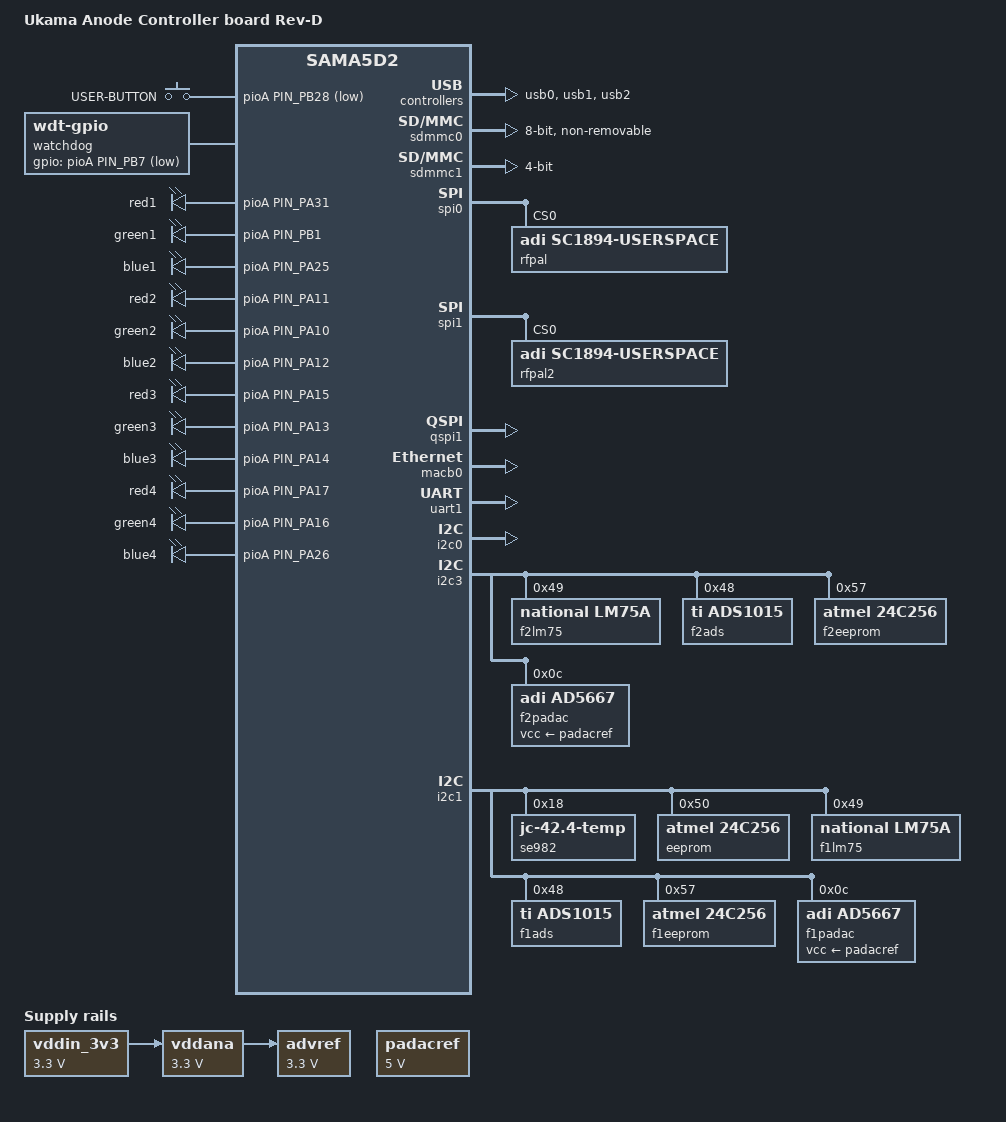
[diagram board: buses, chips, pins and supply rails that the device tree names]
// SPDX-License-Identifier: (GPL-2.0+ OR MIT)
/*
 * at91-sama5d27_som1_ek.dts - Device Tree file for SAMA5D27-SOM1-EK board
 *
 *  Copyright (c) 2017, Microchip Technology Inc.
 *                2016 Nicolas Ferre <nicolas.ferre@atmel.com>
 *                2017 Cristian Birsan <cristian.birsan@microchip.com>
 *                2017 Claudiu Beznea <claudiu.beznea@microchip.com>
 */
/dts-v1/;
#include "at91-sama5d27_som1.dtsi"
#include <dt-bindings/mfd/atmel-flexcom.h>
#include <dt-bindings/gpio/gpio.h>

/ {
	model = "Ukama Anode Controller board Rev-D";
	compatible = "atmel,sama5d27-som1-ek", "atmel,sama5d27-som1", "atmel,sama5d27", "atmel,sama5d2", "atmel,sama5";

	aliases {
		serial0 = &uart1;	/* DBGU */
		i2c0	= &i2c0;
		i2c1	= &i2c1;
        i2c2    = &i2c3;
		spi0    = &spi0;
		spi1 	= &spi1;
	};

	chosen {
		stdout-path = "serial0:115200n8";
	};

	ahb {
		usb0: gadget@300000 {
			atmel,vbus-gpio = <&pioA PIN_PD20 GPIO_ACTIVE_HIGH>;
			pinctrl-names = "default";
			pinctrl-0 = <&pinctrl_usba_vbus>;
			status = "okay";
		};

		usb1: ohci@400000 {
			num-ports = <3>;
			atmel,vbus-gpio = <0 /* &pioA PIN_PD20 GPIO_ACTIVE_HIGH */
					   &pioA PIN_PA27 GPIO_ACTIVE_HIGH
					   0
					  >;
			pinctrl-names = "default";
			pinctrl-0 = <&pinctrl_usb_default>;
			status = "okay";
		};

		usb2: ehci@500000 {
			status = "okay";
		};

		sdmmc0: sdio-host@a0000000 {
			bus-width = <8>;
			pinctrl-names = "default";
			pinctrl-0 = <&pinctrl_sdmmc0_default>;
			non-removable;
			status = "okay";
		};

		sdmmc1: sdio-host@b0000000 {
			bus-width = <4>;
			pinctrl-names = "default";
			pinctrl-0 = <&pinctrl_sdmmc1_default>;
			status = "okay";
		};

		apb {
			spi0: spi@f8000000 {
				status = "okay";
				pinctrl-names = "default";
               	pinctrl-0 = <&pinctrl_spi0_default>;
				rfpal: sc1894@0 {
					compatible = "adi,sc1894-userspace";
                    reg = <0>; /* CS0 */
				};
			};
			
			spi1: spi@fc000000 {
                status = "okay";
                pinctrl-names = "default";
                inctrl-0 = <&pinctrl_spi1_default>;
                rfpal2: sc1894@0 {
                    compatible = "adi,sc1894-userspace";
                    reg = <0>; /* CS0 */
                };
           };
			
			qspi1: spi@f0024000 {
                status = "okay";
			};	
			
			macb0: ethernet@f8008000 {
				status = "okay";
			};

			tcb0: timer@f800c000 {
				timer0: timer@0 {
					compatible = "atmel,tcb-timer";
					reg = <0>;
				};

				timer1: timer@1 {
					compatible = "atmel,tcb-timer";
					reg = <1>;
				};
			};

			uart1: serial@f8020000 {
				pinctrl-names = "default";
				pinctrl-0 = <&pinctrl_uart1_default>;
				atmel,use-dma-rx;
				atmel,use-dma-tx;
				status = "okay";
			};

			i2c0: i2c@f8028000 {
				dmas = <0>, <0>;
				pinctrl-names = "default";
				pinctrl-0 = <&pinctrl_i2c0_default>;
				status = "okay";
			};


			flx1: flexcom@f8038000 {
				atmel,flexcom-mode = <ATMEL_FLEXCOM_MODE_TWI>;
				status = "okay";

				i2c3: i2c@600 {
					compatible = "atmel,sama5d2-i2c";
					reg = <0x600 0x200>;
					interrupts = <20 IRQ_TYPE_LEVEL_HIGH 7>;
					dmas = <0>, <0>;
					dma-names = "tx", "rx";
					#address-cells = <1>;
					#size-cells = <0>;
					clocks = <&pmc PMC_TYPE_PERIPHERAL 20>;
					pinctrl-names = "default";
					pinctrl-0 = <&pinctrl_i2c2_default>;
					atmel,fifo-size = <16>;
					status = "okay";
			        
                    /* FEMA 2 */
				    f2lm75: lm75@49 {
                        compatible = "national,lm75a";
                        reg = <0x49>;
                    };

                    f2ads: ads1015@48 {
                        compatible = "ti,ads1015";
                        reg = <0x48>;
                        #address-cells = <1>;
                        #size-cells = <0>;
                        /* ti,gain = <3>;
                        ti,datarate = <5> */
                    };
				
				    f2eeprom: m24128@57 {
					    compatible = "atmel,24c256";
                        reg = <0x57>;
				    }; 

				    f2padac: ad5667@c {
					    compatible = "adi,ad5667 ";
					    reg = <0x0c>;
					    vcc-supply = <&padacref>;
				    };
				};
			};

			poweroff@f8048010 {
				debounce-delay-us = <976>;
				atmel,wakeup-rtc-timer;

				input@0 {
					reg = <0>;
					atmel,wakeup-type = "low";
				};
			};

			watchdog@f8048040 {
				status = "okay";
			};
            
			i2c1: i2c@fc028000 {
				dmas = <0>, <0>;
				pinctrl-names = "default";
				pinctrl-0 = <&pinctrl_i2c1_default>;
				status = "okay";
				
                /* Controller Board */
				se982: se98@18 {
					compatible = "jedec,jc-42.4-temp";
					reg = <0x18>;
				};
					
				eeprom: mpcat24@50 {
                    compatible = "atmel,24c256";
                    reg = <0x50>;
                };
				
                /* FEMA 1 */
				f1lm75: lm75@49 {
                    compatible = "national,lm75a";
                    reg = <0x49>;
                };

                f1ads: ads1015@48 {
                    compatible = "ti,ads1015";
                    reg = <0x48>;
                    #address-cells = <1>;
                    #size-cells = <0>;
                    /* ti,gain = <3>;
                    ti,datarate = <5> */
                };
				
				f1eeprom: m24128@57 {
					compatible = "atmel,24c256";
                    reg = <0x57>;
				}; 

				f1padac: ad5667@c {
					compatible = "adi,ad5667 ";
					reg = <0x0c>;
					vcc-supply = <&padacref>;
				};
			};

			adc: adc@fc030000 {
				vddana-supply = <&vddana>;
				vref-supply = <&advref>;

				status = "disabled";
			};

			pinctrl@fc038000 {
			    pinctrl_spi0_default: spi0_default {
                    pinmux = <PIN_PA14__SPI0_SPCK>,
                             <PIN_PA15__SPI0_MOSI>,
				       	     <PIN_PA16__SPI0_MISO>,
				             <PIN_PA17__SPI0_NPCS0>,
				             <PIN_PA27__SPI0_NPCS2>;
                    bias-pull-up;
                };
				
				pinctrl_spi1_default: spi1_default {
                    pinmux = <PIN_PC1__SPI1_SPCK>,
                             <PIN_PC2__SPI1_MOSI>,
                             <PIN_PC3__SPI1_MISO>,
                             <PIN_PC4__SPI1_NPCS0>,
                             <PIN_PC5__SPI1_NPCS1>;
                    bias-pull-up;
                };

				pinctrl_i2c0_default: i2c0_default {
					pinmux = <PIN_PD21__TWD0>,
						 <PIN_PD22__TWCK0>;
					bias-disable;
				};

				pinctrl_i2c1_default: i2c1_default {
					pinmux = <PIN_PD4__TWD1>,
						 <PIN_PD5__TWCK1>;
					bias-disable;
				};

				pinctrl_controller_led1_default: controller_led1_default {
					 pinmux = <PIN_PA31__GPIO>,
						  <PIN_PB1__GPIO>,
						  <PIN_PA25__GPIO>;
					 bias-pull-up;
				};
		
				pinctrl_controller_led2_default: controller_led2_default {
					 pinmux = <PIN_PA11__GPIO>,
						  <PIN_PA10__GPIO>,
						  <PIN_PA12__GPIO>;
					 bias-pull-up;
				};
				
				
				pinctrl_controller_led3_default: controller_led3_default {
					 pinmux = <PIN_PB25__GPIO>,
						  <PIN_PA27__GPIO>,
						  <PIN_PB24__GPIO>;
					 bias-pull-up;
				};

				pinctrl_controller_led4_default: controller_led4_default {
					 pinmux = <PIN_PB11__GPIO>,
						  <PIN_PB9__GPIO>,
						  <PIN_PA29__GPIO>;
					 bias-pull-up;
				};
			    
                pinctrl_controller_key_button_default: controller_key_button_default {
                    pinmux = <PIN_PB28__GPIO>;
                    bias-pull-up; 
                };	

				pinctrl_controller_gpios_default: controller_gpios_default {
					pinmux = <PIN_PB3__GPIO>,
						 <PIN_PC27__GPIO>,
                         <PIN_PB30__GPIO>;
                    bias-pull-up;
				};
				
				pinctrl_fema1_gpios_default: fema1_gpios_default {
					pinmux = <PIN_PB4__GPIO>,
						 <PIN_PB27__GPIO>,
						 <PIN_PB29__GPIO>,
						 <PIN_PB8__GPIO>,
						 <PIN_PB31__GPIO>,
						 <PIN_PB22__GPIO>,
						 <PIN_PB23__GPIO>;
                   bias-pull-up;
				};
				
				pinctrl_fema2_gpios_default: fema2_gpios_default {
					pinmux = <PIN_PC15__GPIO>,
						 <PIN_PC10__GPIO>,
						 <PIN_PC6__GPIO>,
						 <PIN_PC9__GPIO>,
						 <PIN_PC14__GPIO>,
						 <PIN_PC19__GPIO>,
						 <PIN_PC20__GPIO>;
					bias-pull-up;
				};
				
				pinctrl_sdmmc0_default: sdmmc0_default {
					cmd_data {
						pinmux = <PIN_PA1__SDMMC0_CMD>,
							 <PIN_PA2__SDMMC0_DAT0>,
							 <PIN_PA3__SDMMC0_DAT1>,
							 <PIN_PA4__SDMMC0_DAT2>,
							 <PIN_PA5__SDMMC0_DAT3>,
							 <PIN_PA6__SDMMC0_DAT4>,
							 <PIN_PA7__SDMMC0_DAT5>,
							 <PIN_PA8__SDMMC0_DAT6>,
							 <PIN_PA9__SDMMC0_DAT7>;
						bias-disable;
					};

					ck_cd_vddsel {
						pinmux = <PIN_PA0__SDMMC0_CK>;
						bias-disable;
					};
				};

				pinctrl_sdmmc1_default: sdmmc1_default {
					cmd_data {
						pinmux = <PIN_PA28__SDMMC1_CMD>,
							 <PIN_PA18__SDMMC1_DAT0>,
							 <PIN_PA19__SDMMC1_DAT1>,
							 <PIN_PA20__SDMMC1_DAT2>,
							 <PIN_PA21__SDMMC1_DAT3>;
						bias-disable;
					};

					conf-ck_cd {
						pinmux = <PIN_PA22__SDMMC1_CK>,
							 <PIN_PA30__SDMMC1_CD>;
						bias-disable;
					};
				};

				pinctrl_uart1_default: uart1_default {
					pinmux = <PIN_PD2__URXD1>,
						 <PIN_PD3__UTXD1>;
					bias-disable;
				};

				pinctrl_usb_default: usb_default {
					pinmux = <PIN_PA27__GPIO>,
						 <PIN_PD19__GPIO>;
					bias-disable;
				};

				pinctrl_usba_vbus: usba_vbus {
					pinmux = <PIN_PD20__GPIO>;
					bias-disable;
				};

				pinctrl_i2c2_default: i2c2_default {
					pinmux = <PIN_PA24__FLEXCOM1_IO0>,
						 <PIN_PA23__FLEXCOM1_IO1>;
					bias-disable;
				};
				
				pinctrl_controller_key_button: fema_button {
					pinmux = <PIN_PB28__GPIO>;
					bias-disable;
				};
			};
			
		};
	};
	
	gpio-keys {
        compatible = "gpio-keys";

        pinctrl-names = "default";
        pinctrl-0 = <&pinctrl_controller_key_button>;
        user-button {
            label = "USER-BUTTON";
            gpios = <&pioA PIN_PB28 GPIO_ACTIVE_LOW>;
            linux,code = <0x100>;
            wakeup-source;
        };
    };

    controller-gpios {
        compatible = "ukama,controller-gpios";
        pinctrl-names = "default";
        pinctrl-0 = <&pinctrl_controller_gpios_default>;
        status = "okay";    
       
		controller-therm-alert = <&pioA PIN_PB3 GPIO_ACTIVE_LOW>;
        
        psu-pgood = <&pioA PIN_PC27 GPIO_ACTIVE_LOW>;
	    
        eeprom-wp-enable = <&pioA PIN_PB30 GPIO_ACTIVE_LOW>;
        eeprom-wp-enable-default = <1>;
    
    };

	fema1-gpios {
		compatible = "ukama,fema-gpios";
		pinctrl-names = "default";
		pinctrl-0 = <&pinctrl_fema1_gpios_default>;
		status = "okay"; 
		
		pg-reg-5v = <&pioA PIN_PB4 GPIO_ACTIVE_LOW>;
	    
		eeprom-wp-enable = <&pioA PIN_PB27 GPIO_ACTIVE_LOW>;
		eeprom-wp-enable-default = <1>;

		tx-rf-enable = <&pioA PIN_PB29 GPIO_ACTIVE_LOW>;
        tx-rf-enable-default = <0>;
        
		rx-rf-enable = <&pioA PIN_PB8 GPIO_ACTIVE_LOW>;
        rx-rf-enable-default = <0>;
        	
		pa-disable = <&pioA PIN_PB31 GPIO_ACTIVE_LOW>;
		pa-disable-default = <0>;
        
		pa-vds-enable = <&pioA PIN_PB23 GPIO_ACTIVE_LOW>;
		pa-vds-enable-default = <0>;
        
		rf-pal-enable = <&pioA PIN_PB22 GPIO_ACTIVE_LOW>;
		rf-pal-enable-default = <0>;
	};

    	
	fema2-gpios {
		compatible = "ukama,fema-gpios";
		pinctrl-names = "default";
		pinctrl-0 = <&pinctrl_fema2_gpios_default>;
		status = "okay"; 
		
		pg-reg-5v = <&pioA PIN_PC15 GPIO_ACTIVE_LOW>;
	    
		eeprom-wp-enable = <&pioA PIN_PC10 GPIO_ACTIVE_LOW>;
		eeprom-wp-enable-default = <1>;

		tx-rf-enable = <&pioA PIN_PC6 GPIO_ACTIVE_LOW>;
        tx-rf-enable-default = <0>;
        
		rx-rf-enable = <&pioA PIN_PC9 GPIO_ACTIVE_LOW>;
        rx-rf-enable-default = <0>;
        	
		pa-disable = <&pioA PIN_PC14 GPIO_ACTIVE_LOW>;
		pa-disable-default = <0>;
        
		pa-vds-enable = <&pioA PIN_PC19 GPIO_ACTIVE_LOW>;
		pa-vds-enable-default = <0>;
        
		rf-pal-enable = <&pioA PIN_PC20 GPIO_ACTIVE_LOW>;
		rf-pal-enable-default = <0>;
	};

	watchdog {
		compatible = "linux,wdt-gpio";
		gpios = <&pioA PIN_PB7 GPIO_ACTIVE_LOW>;
		hw_algo = "toggle";
		hw_margin_ms = <1120>;		
	};
	
	led1 {
		compatible = "gpio-leds";
		pinctrl-names = "default";
		pinctrl-0 = <&pinctrl_controller_led1_default>;
		status = "okay"; /* Conflict with pwm0. */

		red1 {
			label = "red1";
			gpios = <&pioA PIN_PA31 GPIO_ACTIVE_HIGH>;
		};

		green1 {
			label = "green1";
			gpios = <&pioA PIN_PB1 GPIO_ACTIVE_HIGH>;
		};

		blue1 {
			label = "blue1";
			gpios = <&pioA PIN_PA25 GPIO_ACTIVE_HIGH>;
			linux,default-trigger = "heartbeat";
		};
	};

	led2 {
		compatible = "gpio-leds";
		pinctrl-names = "default";
		pinctrl-0 = <&pinctrl_controller_led2_default>;
		status = "okay"; /* Conflict with pwm0. */

		red2 {
			label = "red2";
			gpios = <&pioA PIN_PA11 GPIO_ACTIVE_HIGH>;
		};

		green2 {
			label = "green2";
			gpios = <&pioA PIN_PA10 GPIO_ACTIVE_HIGH>;
		};

		blue2 {
			label = "blue2";
			gpios = <&pioA PIN_PA12 GPIO_ACTIVE_HIGH>;
			default-state = "on";
			linux,default-trigger = "default-on";
		};
	};

	led3 {
		compatible = "gpio-leds";
		pinctrl-names = "default";
		pinctrl-0 = <&pinctrl_controller_led3_default>;
		status = "okay"; /* Conflict with pwm0. */

		red3 {
			label = "red3";
			gpios = <&pioA PIN_PA15 GPIO_ACTIVE_HIGH>;
		};

		green3 {
			label = "green3";
			gpios = <&pioA PIN_PA13 GPIO_ACTIVE_HIGH>;
		};

		blue3 {
			label = "blue3";
			gpios = <&pioA PIN_PA14 GPIO_ACTIVE_HIGH>;
			default-state = "on";
			linux,default-trigger = "default-on";
		};
	};

	led4 {
		compatible = "gpio-leds";
		pinctrl-names = "default";
		pinctrl-0 = <&pinctrl_controller_led4_default>;
		status = "okay"; /* Conflict with pwm0. */

		red4 {
			label = "red4";
			gpios = <&pioA PIN_PA17 GPIO_ACTIVE_HIGH>;
		};

		green4 {
			label = "green4";
			gpios = <&pioA PIN_PA16 GPIO_ACTIVE_HIGH>;
		};

		blue4 {
			label = "blue4";
			gpios = <&pioA PIN_PA26 GPIO_ACTIVE_HIGH>;
			default-state = "on";
			linux,default-trigger = "default-on";
		};
	};
	
	vddin_3v3: fixed-regulator-vddin_3v3 {
		compatible = "regulator-fixed";

		regulator-name = "VDDIN_3V3";
		regulator-min-microvolt = <3300000>;
		regulator-max-microvolt = <3300000>;
		regulator-always-on;
		regulator-boot-on;
		status = "okay";
	};

	vddana: fixed-regulator-vddana {
		compatible = "regulator-fixed";

		regulator-name = "VDDANA";
		regulator-min-microvolt = <3300000>;
		regulator-max-microvolt = <3300000>;
		regulator-always-on;
		regulator-boot-on;
		vin-supply = <&vddin_3v3>;
		status = "okay";
	};

	advref: fixed-regulator-advref {
		compatible = "regulator-fixed";

		regulator-name = "advref";
		regulator-min-microvolt = <3300000>;
		regulator-max-microvolt = <3300000>;
		regulator-always-on;
		regulator-boot-on;
		vin-supply = <&vddana>;
		status = "okay";
	};
	
	padacref: fixed-regulator-padac {
		compatible = "regulator-fixed";

        regulator-name = "padacref";
        regulator-min-microvolt = <5000000>;
        regulator-max-microvolt = <5000000>;
        regulator-always-on;
        regulator-boot-on;
        status = "okay";
	};
};
